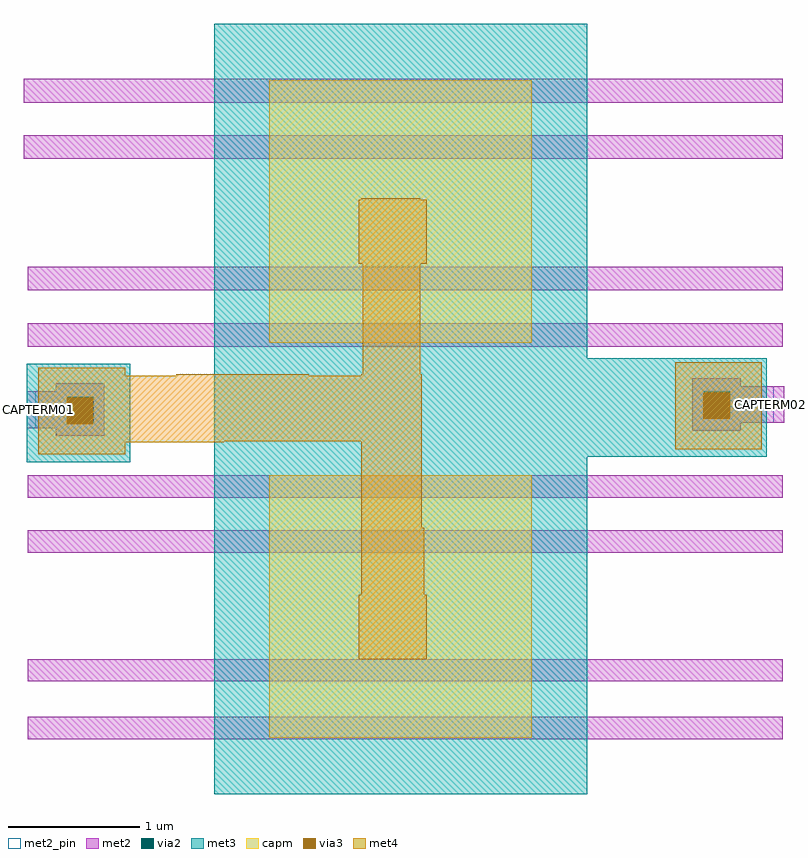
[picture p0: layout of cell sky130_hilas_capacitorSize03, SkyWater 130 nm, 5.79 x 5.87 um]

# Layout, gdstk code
import gdstk
lib = gdstk.Library(unit=1e-6, precision=1e-09)
def R(c, l, rs):  # rectangles x0, y0, x1, y1
    for r in rs: c.add(gdstk.rectangle(r[:2], r[2:], *l))
met2_pin = (69, 16)
met2 = (69, 20)
via2 = (69, 44)
met3 = (70, 20)
via3 = (70, 44)
met4 = (71, 20)
capm = (89, 44)

sky130_hilas_m22m4 = lib.new_cell('sky130_hilas_m22m4')
R(sky130_hilas_m22m4, met2, [(-0.14,-0.16,0.23,0.24)])
R(sky130_hilas_m22m4, via2, [(-0.05,-0.06,0.15,0.14)])
R(sky130_hilas_m22m4, met3, [(-0.36,-0.36,0.43,0.39)])
R(sky130_hilas_m22m4, via3, [(-0.055,-0.07,0.145,0.13)])
R(sky130_hilas_m22m4, met4, [(-0.27,-0.3,0.39,0.36)])

sky130_hilas_capmodule01 = lib.new_cell('sky130_hilas_CapModule01')
R(sky130_hilas_capmodule01, met3, [(-4.43,-2.45,-1.59,0.41)])
R(sky130_hilas_capmodule01, met4, [(-3.33,-1.42,-2.81,-0.93), (-3.31,-0.93,-2.86,-0.92)])
R(sky130_hilas_capmodule01, capm, [(-4.01,-2.02,-2.01,-0.02)])

sky130_hilas_capacitorsi = lib.new_cell('sky130_hilas_capacitorSize03')
R(sky130_hilas_capacitorsi, met2_pin, [(14.16,2.32,14.23,2.6), (19.85,2.36,19.93,2.64)])
R(sky130_hilas_capacitorsi, met2, [(14.17,-0.05,19.92,0.12), (14.17,0.39,19.92,0.56), (14.17,1.37,19.92,1.54), (14.17,1.79,19.92,1.96), (14.16,2.32,14.43,2.6), (19.56,2.36,19.93,2.64), (14.17,2.94,19.92,3.12), (14.17,3.37,19.92,3.55), (14.14,4.37,19.92,4.55), (14.14,4.8,19.92,4.98)])
R(sky130_hilas_capacitorsi, met3, [(15.59,2.1,19.73,2.85), (15.59,2.85,15.86,2.86)])
R(sky130_hilas_capacitorsi, met4, [(17.16,0.76,17.19,1.06), (16.71,1.06,17.19,1.56), (16.71,1.56,17.17,2.22), (14.59,2.21,15.66,2.22), (14.59,2.22,17.17,2.72), (15.3,2.72,16.31,2.73), (16.71,2.72,17.17,2.73), (16.72,2.73,17.16,3.57)])
sky130_hilas_capacitorsi.add(gdstk.Reference(sky130_hilas_m22m4, (14.52,2.42)))
sky130_hilas_capacitorsi.add(gdstk.Reference(sky130_hilas_m22m4, (19.37,2.46)))
sky130_hilas_capacitorsi.add(gdstk.Reference(sky130_hilas_capmodule01, (20.02,4.99)))
sky130_hilas_capacitorsi.add(gdstk.Reference(sky130_hilas_capmodule01, (20.02,1.98)))
sky130_hilas_capacitorsi.add(gdstk.Label('CAPTERM02', (19.89,2.5), layer=69, texttype=16))
sky130_hilas_capacitorsi.add(gdstk.Label('CAPTERM01', (14.195,2.46), layer=69, texttype=16))

lib.write_gds('sky130_hilas_capacitorSize03.gds')
